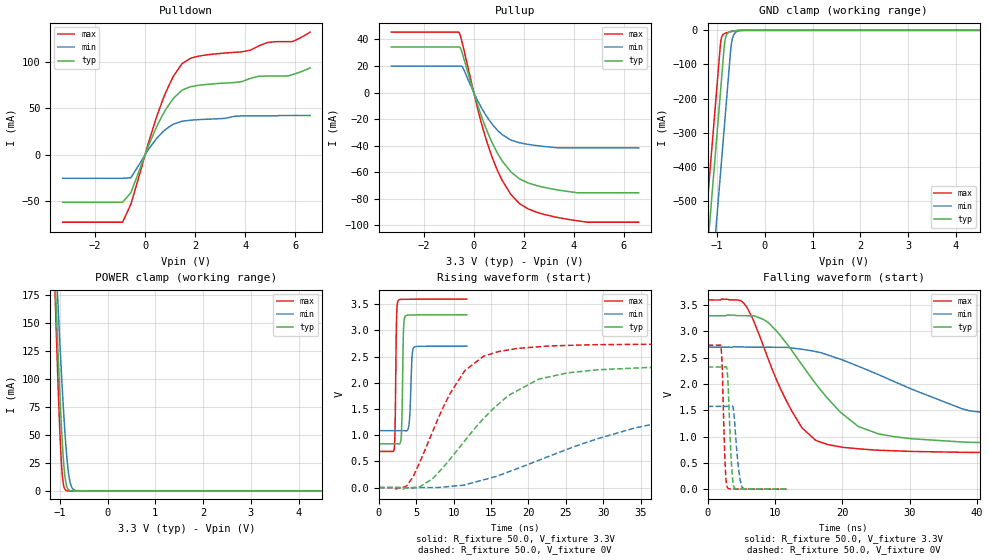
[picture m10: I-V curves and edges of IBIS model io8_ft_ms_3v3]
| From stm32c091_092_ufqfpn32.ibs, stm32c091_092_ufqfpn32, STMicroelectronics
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[Model]   io8_ft_ms_3v3
Model_type I/O
Polarity   Non-Inverting
Enable   Active-Low
| CAP_THRESHOLD on pad IOFT is "UDTCAPC" :
| Rising=30.0% of vddiom   Falling=70.0% of vddiom
| C_comp min and max val. don't necessarily correlate with the min and max pvt
| but are the smallest and greatest pad capacitance found.
| var   typ   min   max
C_comp   2.01478pF  1.96652pF  2.03920pF
|C_comp_pullup   1.19125pF  1.16081pF  1.16346pF
|C_comp_pulldown   823.53028fF  805.71054fF  875.73609fF
Vinl = 1.35V
Vinh = 1.8V
Vmeas = 1.65V   | Reference voltage for timing measurements
Cref  = 50.0pF   | Timing specification test load capacitance value
Rref  = 1.0MOhm   | Timing specification test load resistance value
Vref  = 1.815V   | Timing specification test load voltage
[Model Spec]
| TIME_THRESHOLD on pin ZIV12 is "CMOS" :
| Rising=50.0% of vdd   Falling=50.0% of vdd
Vinl 1.34770V 1.11370V 1.44970V
Vinh 1.77530V 1.49530V 1.90330V
| variable   typ   min   max
[Temperature Range] 25.0 125.0 -40.0
| variable   typ   min   max
[Voltage Range] 3.3V 2.7V 3.6V
| variable   typ   min   max
[POWER Clamp Reference] 3.3V 2.7V 3.6V
| variable   typ   min   max
[GND Clamp Reference] 0V 0V 0V
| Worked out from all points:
|   slope of the pulldown table from 0 to 0.495 V, typ, clamps not added: 15.4 ohm
|   slope of the pullup table from 0 to 0.495 V, typ, clamps not added: 18.1 ohm
|   GND clamp passes 1 mA (typ) near -0.60 V on its own axis
|   POWER clamp passes 1 mA (typ) near -0.81 V on its own axis
|   rising waveform, R_fixture 50.0, V_fixture 3.3V: 20-80 % time 173ps typ, 246ps min, 153ps max; typ from 0.835 V to 3.3 V
|   falling waveform, R_fixture 50.0, V_fixture 3.3V: 20-80 % time 9.54ns typ, 22.3ns min, 6.11ns max; typ from 3.3 V to 0.835 V
|   rising waveform, R_fixture 50.0, V_fixture 0V: 20-80 % time 9.58ns typ, 20.6ns min, 5.65ns max; typ from 0 V to 2.32 V
|   falling waveform, R_fixture 50.0, V_fixture 0V: 20-80 % time 463ps typ, 651ps min, 379ps max; typ from 2.33 V to 0.001 V
[POWER Clamp]
-3.3V     2.991A     2.543A     3.694A
-1.1V     191.1mA    222.7mA    177.1mA
-1.08V    169mA      204.2mA    149.9mA
-1.05V    136.9mA    176.9mA    110.9mA
-1.01V    96.55mA    141.6mA    64.02mA
-970mV    60.39mA    108.2mA    27.41mA
-930mV    31.08mA    77.43mA    7.282mA
-900mV    15.67mA    56.69mA    2.025mA
-860mV    4.779mA    33.42mA    315.2uA
-780mV    272.1uA    6.953mA    6.98uA
-670mV    4.467uA    374.2uA    36.58nA
6.6V      0A         0A         0A
[GND Clamp]
-3.3V     -4.209A    -4.449A    -4.067A
-1.25V    -724.3mA   -963.9mA   -582.3mA
-940mV    -197.3mA   -436.9mA   -55.31mA
-900mV    -129.3mA   -368.9mA   -18.05mA
-850mV    -45.25mA   -283.9mA   -9.777mA
-830mV    -25.62mA   -249.8mA   -8.529mA
-790mV    -10.15mA   -181.9mA   -6.665mA
-720mV    -3.762mA   -62.85mA   -4.025mA
-700mV    -3.047mA   -38.71mA   -3.371mA
-650mV    -1.786mA   -12.52mA   -1.967mA
-550mV    -403.5uA   -1.578mA   -350.4uA
6.6V      932.9pA    92.35nA    684.5pA
| variable   typ   min   max
[Pullup Reference] 3.3V 2.7V 3.6V
| variable   typ   min   max
[Pulldown Reference] 0V 0V 0V
[Pullup]
-3.3V     34.22mA    19.9mA     45.47mA
-590mV    34.22mA    19.9mA     45.14mA
-520mV    32.8mA     19.9mA     41.66mA
-430mV    27.72mA    18.4mA     34.86mA
200mV     -11.99mA   -7.69mA    -15.6mA
640mV     -33.81mA   -21.37mA   -43.64mA
1.14V     -51.54mA   -31.73mA   -66.22mA
1.48V     -59.67mA   -35.78mA   -76.65mA
1.83V     -65.01mA   -37.85mA   -83.65mA
2.51V     -70.03mA   -39.93mA   -90.06mA
3.88V     -74.77mA   -41.71mA   -95.78mA
6.6V      -75.45mA   -41.71mA   -97.6mA
[Pulldown]
-3.3V     -51.64mA   -25.66mA   -73.18mA
-900mV    -51.64mA   -25.66mA   -73.04mA
-570mV    -41.2mA    -25.04mA   -53.78mA
120mV     8.582mA    5.119mA    11.54mA
690mV     42.49mA    24.14mA    58.21mA
1.09V     59.44mA    32.3mA     82.71mA
1.48V     69.88mA    36.14mA    98.63mA
2.17V     75.22mA    37.94mA    106.8mA
3.88V     79.15mA    41.94mA    111.3mA
4.9V      85.07mA    41.94mA    121.4mA
5.88V     86.5mA     42.4mA     122.4mA
6.6V      93.9mA     42.4mA     132.7mA
[Ramp]
dV/dt_r 1.39465V/9.57879ns 945.1742mV/20.59158ns 1.643V/5.64893ns
dV/dt_f 1.47921V/9.5374ns 967.92385mV/19.86495ns 1.74616V/6.10756ns
R_load = 50.0
| Removed startup time: 0s 0s 0s  .
| Removed end time: 11.75ns.
[Rising Waveform]
R_fixture   = 50.0
V_fixture   = 3.3V
V_fixture_min = 2.7V
V_fixture_max = 3.6V
0s        834.9mV    1.087V     689.8mV
2.05ns    834.9mV    1.087V     746.7mV
2.35ns    834.9mV    1.087V     3.208V
2.6ns     834.1mV    1.087V     3.576V
3ns       988.8mV    1.087V     3.594V
3.25ns    2.848V     1.087V     3.594V
3.5ns     3.267V     1.085V     3.595V
4.05ns    3.295V     1.234V     3.596V
4.65ns    3.297V     2.673V     3.597V
11.75ns   3.299V     2.699V     3.599V
| Removed startup time: 0s 0s 0s  .
| Removed end time: 249.75ns.
[Falling Waveform]
R_fixture   = 50.0
V_fixture   = 3.3V
V_fixture_min = 2.7V
V_fixture_max = 3.6V
0s        3.3V       2.7V       3.6V
5.4ns     3.3V       2.705V     3.533V
9.025ns   3.168V     2.7V       2.47V
14.03ns   2.362V     2.661V     1.165V
16.05ns   2.007V     2.618V     928.6mV
20.1ns    1.425V     2.455V     795.3mV
25.35ns   1.052V     2.18V      740.9mV
37.83ns   897.6mV    1.527V     701.5mV
55.5ns    848.4mV    1.217V     691.8mV
249.8ns   834.7mV    1.087V     689.7mV
| Removed startup time: 0s 0s 0s  .
| Removed end time: 249.75ns.
[Rising Waveform]
R_fixture   = 50.0
V_fixture   = 0V
V_fixture_min = 0V
V_fixture_max = 0V
0s        29.11nV    76.9nV     36.7nV
3.7ns     -2.139mV   -826.9uV   32.03mV
7.2ns     171.4mV    438.6uV    1.075V
11.5ns    897mV      51.05mV    2.234V
14.05ns   1.326V     150mV      2.511V
18.55ns   1.853V     364.9mV    2.658V
25.15ns   2.188V     729.5mV    2.714V
39.15ns   2.304V     1.29V      2.737V
57.9ns    2.324V     1.519V     2.739V
249.8ns   2.324V     1.575V     2.738V
| Removed startup time: 0s 0s 0s  .
| Removed end time: 11.75ns.
[Falling Waveform]
R_fixture   = 50.0
V_fixture   = 0V
V_fixture_min = 0V
V_fixture_max = 0V
0s        2.325V     1.575V     2.739V
2ns       2.325V     1.575V     2.692V
2.2ns     2.325V     1.575V     2.192V
2.6ns     2.325V     1.575V     482.5mV
2.95ns    2.182V     1.575V     30.54mV
3.5ns     563.3mV    1.578V     4.541mV
4ns       19.62mV    1.298V     3.119mV
4.55ns    3.571mV    434.9mV    2.576mV
5.1ns     2.365mV    42.24mV    2.259mV
11.75ns   775.3uV    443uV      533.8uV
